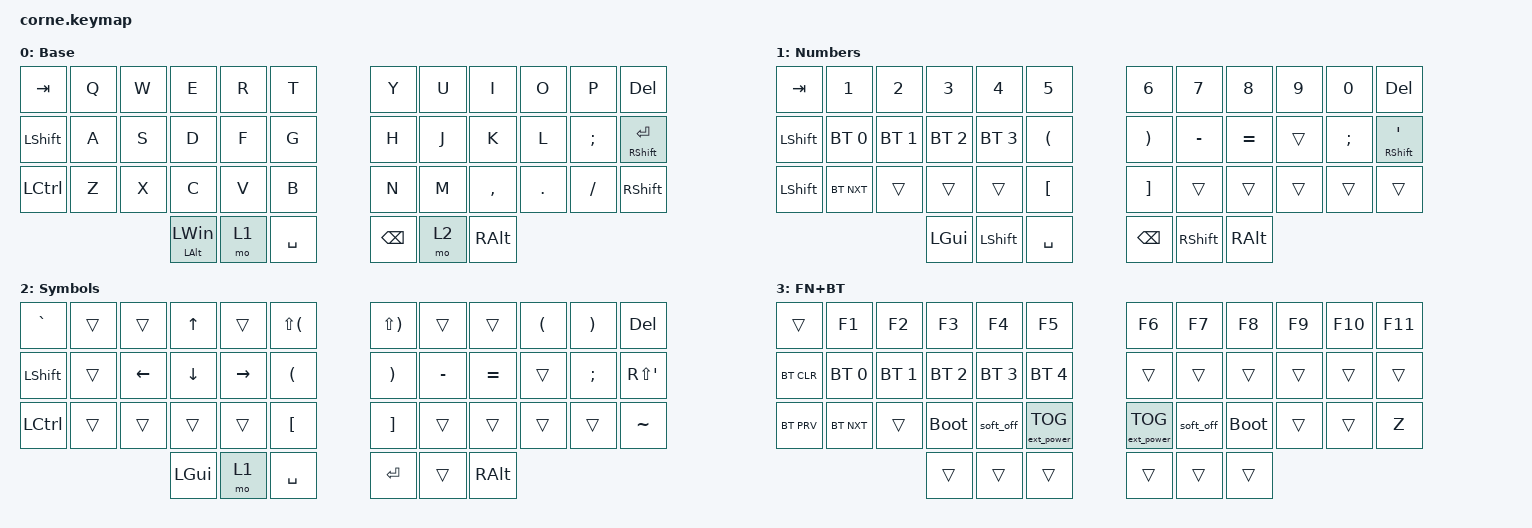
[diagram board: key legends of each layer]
/*
 * Copyright (c) 2020 The ZMK Contributors
 *
 * SPDX-License-Identifier: MIT
 */

#include <behaviors.dtsi>
#include <dt-bindings/zmk/bt.h>
#include <dt-bindings/zmk/ext_power.h>
#include <dt-bindings/zmk/keys.h>

/ {
    combos {
        compatible = "zmk,combos";

        BootLeft {
            bindings = <&bootloader>;
            key-positions = <24 12 0>;
        };

        BootRight {
            bindings = <&bootloader>;
            key-positions = <23 35 11>;
        };

        Escapade {
            bindings = <&kp ESC>;
            key-positions = <0 1>;
        };

        LeftPower {
            bindings = <&soft_off>;
            key-positions = <1 0 2 3 4 5>;
        };

        RightPower {
            bindings = <&soft_off>;
            key-positions = <6 7 8 9 10 11>;
        };

        snippp {
            bindings = <&kp LS(LG(S))>;
            key-positions = <12 14 13>;
        };

        BT+Symbols {
            bindings = <&mo 3>;
            key-positions = <37 40>;
        };
    };

    keymap {
        compatible = "zmk,keymap";

        QWERTY {
            // -----------------------------------------------------------------------------------------
            // |  TAB |  Q  |  W  |  E  |  R  |  T  |   |  Y  |  U   |  I  |  O  |  P  | BKSP |
            // | CTRL |  A  |  S  |  D  |  F  |  G  |   |  H  |  J   |  K  |  L  |  ;  |  '   |
            // | SHFT |  Z  |  X  |  C  |  V  |  B  |   |  N  |  M   |  ,  |  .  |  /  | ESC  |
            //                    | GUI | LWR | SPC |   | ENT | RSE  | ALT |

            display-name = "Base";
            bindings = <
&kp TAB         &kp Q  &kp W  &kp E                  &kp R  &kp T        &kp Y          &kp U  &kp I      &kp O    &kp P     &kp DEL
&kp LEFT_SHIFT  &kp A  &kp S  &kp D                  &kp F  &kp G        &kp H          &kp J  &kp K      &kp L    &kp SEMI  &mt RIGHT_SHIFT ENTER
&kp LCTRL       &kp Z  &kp X  &kp C                  &kp V  &kp B        &kp N          &kp M  &kp COMMA  &kp DOT  &kp FSLH  &kp RIGHT_SHIFT
                              &mt LEFT_ALT LEFT_WIN  &mo 1  &kp SPACE    &kp BACKSPACE  &mo 2  &kp RALT
            >;
        };

        Numbers {
            // -----------------------------------------------------------------------------------------
            // |  TAB |  1  |  2  |  3  |  4  |  5  |   |  6  |  7  |  8  |  9  |  0  | BKSP |
            // | BTCLR| BT1 | BT2 | BT3 | BT4 | BT5 |   | LFT | DWN |  UP | RGT |     |      |
            // | SHFT |     |     |     |     |     |   |     |     |     |     |     |      |
            //                    | GUI |     | SPC |   | ENT |     | ALT |

            display-name = "Numbers";
            bindings = <
&kp TAB         &kp N1        &kp N2        &kp N3        &kp N4          &kp N5                  &kp N6                 &kp N7           &kp N8     &kp N9  &kp N0         &kp DEL
&kp LEFT_SHIFT  &bt BT_SEL 0  &bt BT_SEL 1  &bt BT_SEL 2  &bt BT_SEL 3    &kp LEFT_PARENTHESIS    &kp RIGHT_PARENTHESIS  &kp MINUS        &kp EQUAL  &trans  &kp SEMICOLON  &mt RIGHT_SHIFT SQT
&kp LEFT_SHIFT  &bt BT_NXT    &trans        &trans        &trans          &kp LEFT_BRACKET        &kp RIGHT_BRACKET      &trans           &trans     &trans  &trans         &trans
                                            &kp LGUI      &kp LEFT_SHIFT  &kp SPACE               &kp BACKSPACE          &kp RIGHT_SHIFT  &kp RALT
            >;
        };

        raise_layer {
            // -----------------------------------------------------------------------------------------
            // |  TAB |  !  |  @  |  #  |  $  |  %  |   |  ^  |  &  |  *  |  (  |  )  | BKSP |
            // | CTRL |     |     |     |     |     |   |  -  |  =  |  [  |  ]  |  \  |  `   |
            // | SHFT |     |     |     |     |     |   |  _  |  +  |  {  |  }  | "|" |  ~   |
            //                    | GUI |     | SPC |   | ENT |     | ALT |

            display-name = "Symbols";
            bindings = <
&kp GRAVE       &trans  &trans    &kp UP_ARROW    &trans     &kp LS(LPAR)            &kp LS(RPAR)           &trans     &trans     &kp LPAR  &kp RPAR       &kp DELETE
&kp LEFT_SHIFT  &trans  &kp LEFT  &kp DOWN_ARROW  &kp RIGHT  &kp LEFT_PARENTHESIS    &kp RIGHT_PARENTHESIS  &kp MINUS  &kp EQUAL  &trans    &kp SEMICOLON  &kp RS(SQT)
&kp LCTRL       &trans  &trans    &trans          &trans     &kp LEFT_BRACKET        &kp RIGHT_BRACKET      &trans     &trans     &trans    &trans         &kp TILDE
                                  &kp LGUI        &mo 1      &kp SPACE               &kp RET                &trans     &kp RALT
            >;
        };

        FN+BT {
            bindings = <
&trans      &kp F1        &kp F2        &kp F3        &kp F4        &kp F5               &kp F6             &kp F7     &kp F8       &kp F9  &kp F10  &kp F11
&bt BT_CLR  &bt BT_SEL 0  &bt BT_SEL 1  &bt BT_SEL 2  &bt BT_SEL 3  &bt BT_SEL 4         &trans             &trans     &trans       &trans  &trans   &trans
&bt BT_PRV  &bt BT_NXT    &trans        &bootloader   &soft_off     &ext_power EP_TOG    &ext_power EP_TOG  &soft_off  &bootloader  &trans  &trans   &kp Z
                                        &trans        &trans        &trans               &trans             &trans     &trans
            >;
        };
    };

    conditional_layers {
        compatible = "zmk,conditional-layers";

        FN+BT {
            if-layers = <1 2>;
            then-layer = <3>;
        };
    };
};
